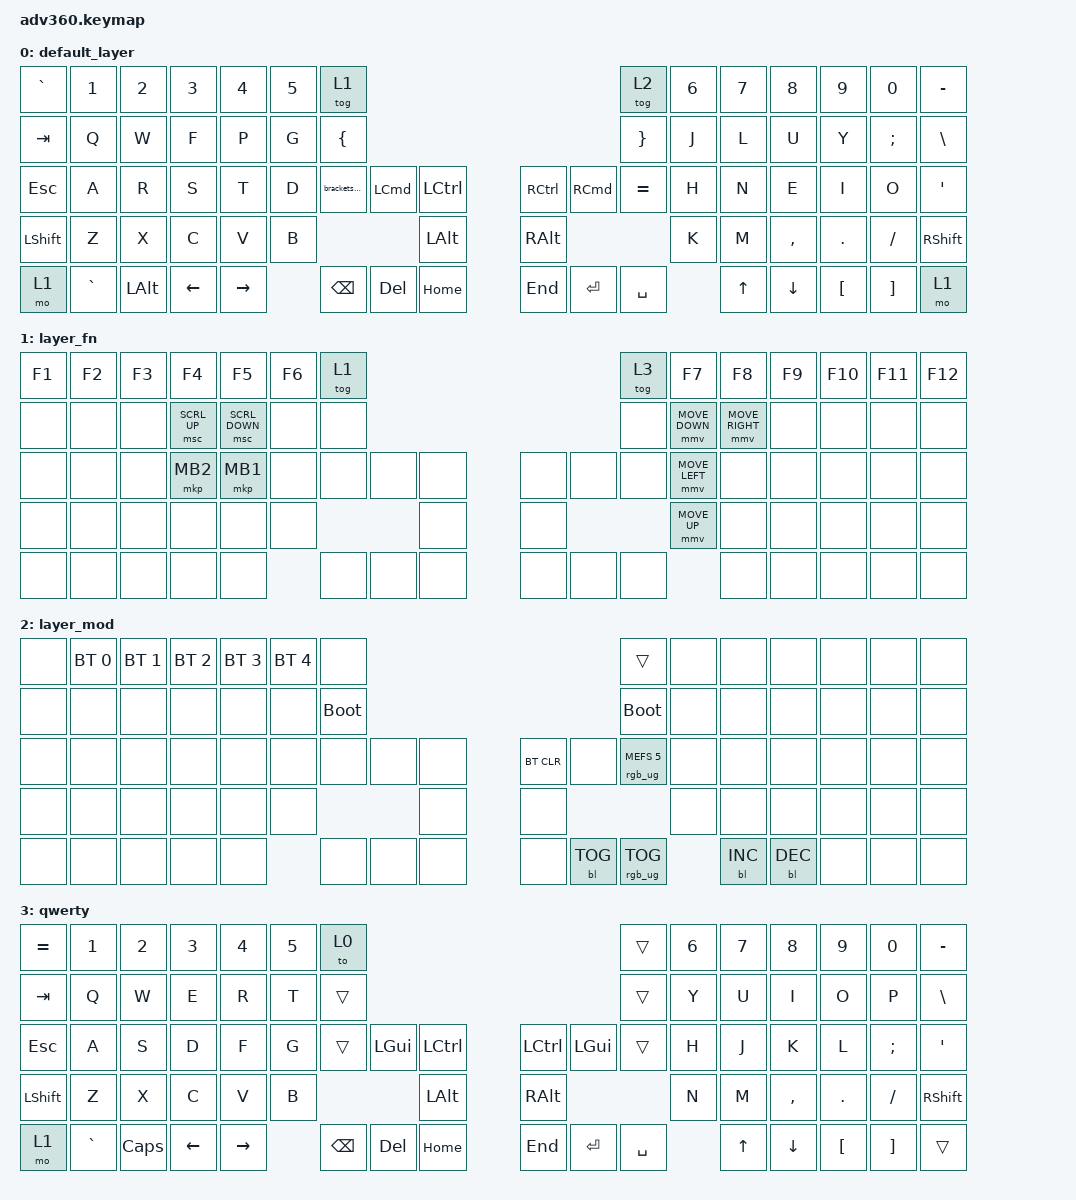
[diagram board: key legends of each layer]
/*
 * Copyright (c) 2020 The ZMK Contributors
 *
 * SPDX-License-Identifier: MIT
 */
/* THIS FILE WAS GENERATED!
 *
 * This file was generated automatically. You may or may not want to
 * edit it directly.
 */

#include <dt-bindings/zmk/stp.h>
#include <behaviors.dtsi>
#include <dt-bindings/zmk/backlight.h>
#include <dt-bindings/zmk/bt.h>
#include <dt-bindings/zmk/keys.h>
#include <dt-bindings/zmk/pointing.h>
#include <dt-bindings/zmk/rgb.h>

/ {
    behaviors {
        #include "macros.dtsi"
    #include "version.dtsi"

        hm: homerow_mods {
            compatible = "zmk,behavior-hold-tap";
            label = "HOMEROW_MODS";
            #binding-cells = <2>;
            tapping-term-ms = <200>;
            quick_tap_ms = <175>;
            flavor = "tap-preferred";
            bindings = <&kp>, <&kp>;
        };
    };

    macros {
        bracketsmiddle: bracketsmiddle {
            compatible = "zmk,behavior-macro";
            #binding-cells = <0>;
            bindings = <&kp LEFT_BRACE &kp RIGHT_BRACE &kp LEFT_ARROW>;
            label = "BRACKETSMIDDLE";
        };
    };

    combos {
        compatible = "zmk,combos";

        esc_hm_tap {
            bindings = <&tog 1>;
            key-positions = <33 40>;
            timeout-ms = <250>;
            layers = <0 2>;
            require-prior-idle-ms = <200>;
        };
    };

    keymap {
        compatible = "zmk,keymap";

        default_layer {
            bindings = <
&kp GRAVE  &kp N1     &kp N2        &kp N3    &kp N4     &kp N5  &tog 1                                                                                 &tog 2           &kp N6  &kp N7  &kp N8     &kp N9    &kp N0         &kp MINUS
&kp TAB    &kp Q      &kp W         &kp F     &kp P      &kp G   &kp LEFT_BRACE                                                                         &kp RIGHT_BRACE  &kp J   &kp L   &kp U      &kp Y     &kp SEMICOLON  &kp BSLH
&kp ESC    &kp A      &kp R         &kp S     &kp T      &kp D   &bracketsmiddle  &kp LCMD  &kp LEFT_CONTROL      &kp RIGHT_CONTROL  &kp RIGHT_COMMAND  &kp EQUAL        &kp H   &kp N   &kp E      &kp I     &kp O          &kp SQT
&kp LSHFT  &kp Z      &kp X         &kp C     &kp V      &kp B                              &kp LEFT_ALT          &kp RIGHT_ALT                                          &kp K   &kp M   &kp COMMA  &kp DOT   &kp FSLH       &kp RSHFT
&mo 1      &kp GRAVE  &kp LEFT_ALT  &kp LEFT  &kp RIGHT          &kp BSPC         &kp DEL   &kp HOME              &kp END            &kp RETURN         &kp SPACE                &kp UP  &kp DOWN   &kp LBKT  &kp RBKT       &mo 1
            >;
        };

        layer_fn {
            bindings = <
&kp F1  &kp F2  &kp F3  &kp F4        &kp F5          &kp F6  &tog 1                                  &tog 3  &kp F7          &kp F8           &kp F9  &kp F10  &kp F11  &kp F12
&none   &none   &none   &msc SCRL_UP  &msc SCRL_DOWN  &none   &none                                   &none   &mmv MOVE_DOWN  &mmv MOVE_RIGHT  &none   &none    &none    &none
&none   &none   &none   &mkp MB2      &mkp MB1        &none   &none   &none  &none      &none  &none  &none   &mmv MOVE_LEFT  &none            &none   &none    &none    &none
&none   &none   &none   &none         &none           &none                  &none      &none                 &mmv MOVE_UP    &none            &none   &none    &none    &none
&none   &none   &none   &none         &none                   &none   &none  &none      &none  &none  &none                   &none            &none   &none    &none    &none
            >;
        };

        layer_mod {
            bindings = <
&none  &bt BT_SEL 0  &bt BT_SEL 1  &bt BT_SEL 2  &bt BT_SEL 3  &bt BT_SEL 4  &none                                                  &trans                  &none  &none       &none       &none  &none  &none
&none  &none         &none         &none         &none         &none         &bootloader                                            &bootloader             &none  &none       &none       &none  &none  &none
&none  &none         &none         &none         &none         &none         &none        &none  &none      &bt BT_CLR  &none       &rgb_ug RGB_MEFS_CMD 5  &none  &none       &none       &none  &none  &none
&none  &none         &none         &none         &none         &none                             &none      &none                                           &none  &none       &none       &none  &none  &none
&none  &none         &none         &none         &none                       &none        &none  &none      &none       &bl BL_TOG  &rgb_ug RGB_TOG                &bl BL_INC  &bl BL_DEC  &none  &none  &none
            >;
        };

        qwerty {
            bindings = <
&kp EQUAL  &kp N1     &kp N2    &kp N3          &kp N4           &kp N5  &to 0                                                     &trans     &kp N6  &kp N7        &kp N8          &kp N9    &kp N0    &kp MINUS
&kp TAB    &kp Q      &kp W     &kp E           &kp R            &kp T   &trans                                                    &trans     &kp Y   &kp U         &kp I           &kp O     &kp P     &kp BSLH
&kp ESC    &kp A      &kp S     &kp D           &kp F            &kp G   &trans    &kp LGUI    &kp LCTRL      &kp LCTRL  &kp LGUI  &trans     &kp H   &kp J         &kp K           &kp L     &kp SEMI  &kp APOS
&kp LSHFT  &kp Z      &kp X     &kp C           &kp V            &kp B                         &kp LALT       &kp RALT                        &kp N   &kp M         &kp COMMA       &kp DOT   &kp FSLH  &kp RSHFT
&mo 1      &kp GRAVE  &kp CAPS  &kp LEFT_ARROW  &kp RIGHT_ARROW          &kp BSPC  &kp DELETE  &kp HOME       &kp END    &kp RET   &kp SPACE          &kp UP_ARROW  &kp DOWN_ARROW  &kp LBKT  &kp RBKT  &trans
            >;
        };
    };

    extra2 {
        display-name = "Purple";
        status = "reserved";
    };

    extra3 {
        display-name = "Cyan";
        status = "reserved";
    };

    extra4 {
        display-name = "Yellow";
        status = "reserved";
    };
};
